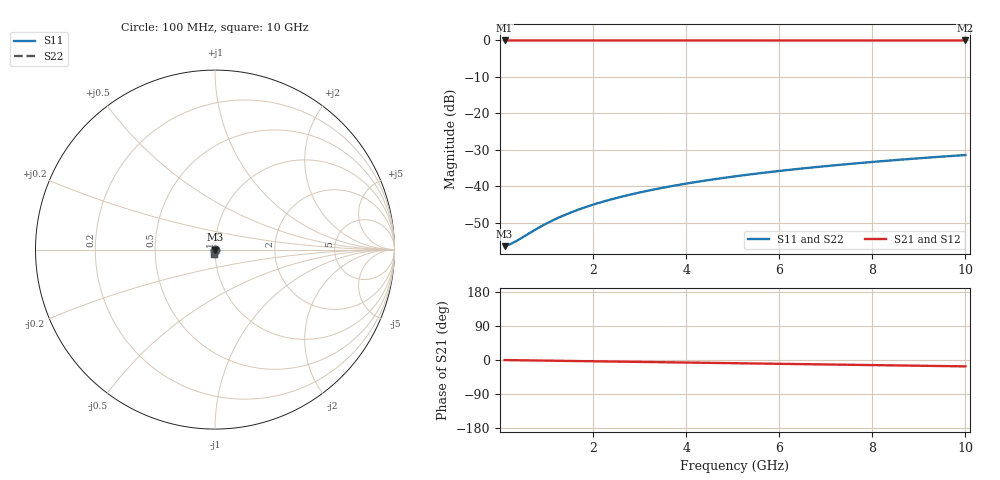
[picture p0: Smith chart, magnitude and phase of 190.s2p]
# Hz S RI R 50.00
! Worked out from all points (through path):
!   100 points, 100 MHz to 10 GHz, reference 50 ohm
!   highest |S21| = -0.01 dB at 100 MHz (marker M1); lowest = 0.0 dB at 10 GHz (marker M2)
!   group delay of S21, straight-line fit = 4.67 ps
!   lowest |S11| = -56.4 dB at 100 MHz (marker M3), VSWR 1.00, Z = 50.1 - j0.0275 ohm
!   |S11| at or under -10 dB: start of sweep to end of sweep
!   |S22| runs from -56.4 to -31.4 dB; largest |S21 - S12| = 0
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1e8  0.00149 -0.000274  0.9985 -0.00292  0.9985 -0.00292  0.00149 -0.000274
2e8  0.0015 -0.000549  0.9985 -0.00584  0.9985 -0.00584  0.0015 -0.000549
3e8  0.0015 -0.000823  0.9984 -0.00876  0.9984 -0.00876  0.0015 -0.000823
4e8  0.0015 -0.0011  0.9984 -0.0117  0.9984 -0.0117  0.0015 -0.0011
8e8  0.00147 -0.00219  0.9982 -0.0233  0.9982 -0.0233  0.00147 -0.00219
1.1e9  0.00143 -0.00302  0.9979 -0.0321  0.9979 -0.0321  0.00143 -0.00302
1.4e9  0.00138 -0.00384  0.9976 -0.0409  0.9976 -0.0409  0.00138 -0.00384
1.6e9  0.00133 -0.00439  0.9973 -0.0467  0.9973 -0.0467  0.00133 -0.00439
1.8e9  0.00128 -0.00493  0.997 -0.0525  0.997 -0.0525  0.00128 -0.00493
2.1e9  0.00119 -0.00575  0.9965 -0.0613  0.9965 -0.0613  0.00119 -0.00575
2.5e9  0.00104 -0.00685  0.9957 -0.0729  0.9957 -0.0729  0.00104 -0.00685
2.9e9  0.000875 -0.00793  0.9947 -0.0846  0.9947 -0.0846  0.000875 -0.00793
3.4e9  0.000626 -0.00929  0.9934 -0.0991  0.9934 -0.0991  0.000626 -0.00929
3.8e9  0.000399 -0.0104  0.9921 -0.1107  0.9921 -0.1107  0.000399 -0.0104
4.2e9  0.000146 -0.0114  0.9907 -0.1224  0.9907 -0.1224  0.000146 -0.0114
4.6e9  -0.000133 -0.0125  0.9892 -0.134  0.9892 -0.134  -0.000133 -0.0125
5.1e9  -0.000516 -0.0138  0.9871 -0.1484  0.9871 -0.1484  -0.000516 -0.0138
5.9e9  -0.00121 -0.016  0.9833 -0.1715  0.9833 -0.1715  -0.00121 -0.016
6.7e9  -0.002 -0.018  0.9789 -0.1945  0.9789 -0.1945  -0.002 -0.018
7.5e9  -0.00289 -0.0201  0.974 -0.2175  0.974 -0.2175  -0.00289 -0.0201
8.4e9  -0.00401 -0.0223  0.9679 -0.2431  0.9679 -0.2431  -0.00401 -0.0223
1e10  -0.00628 -0.0262  0.9552 -0.2883  0.9552 -0.2883  -0.00628 -0.0262
